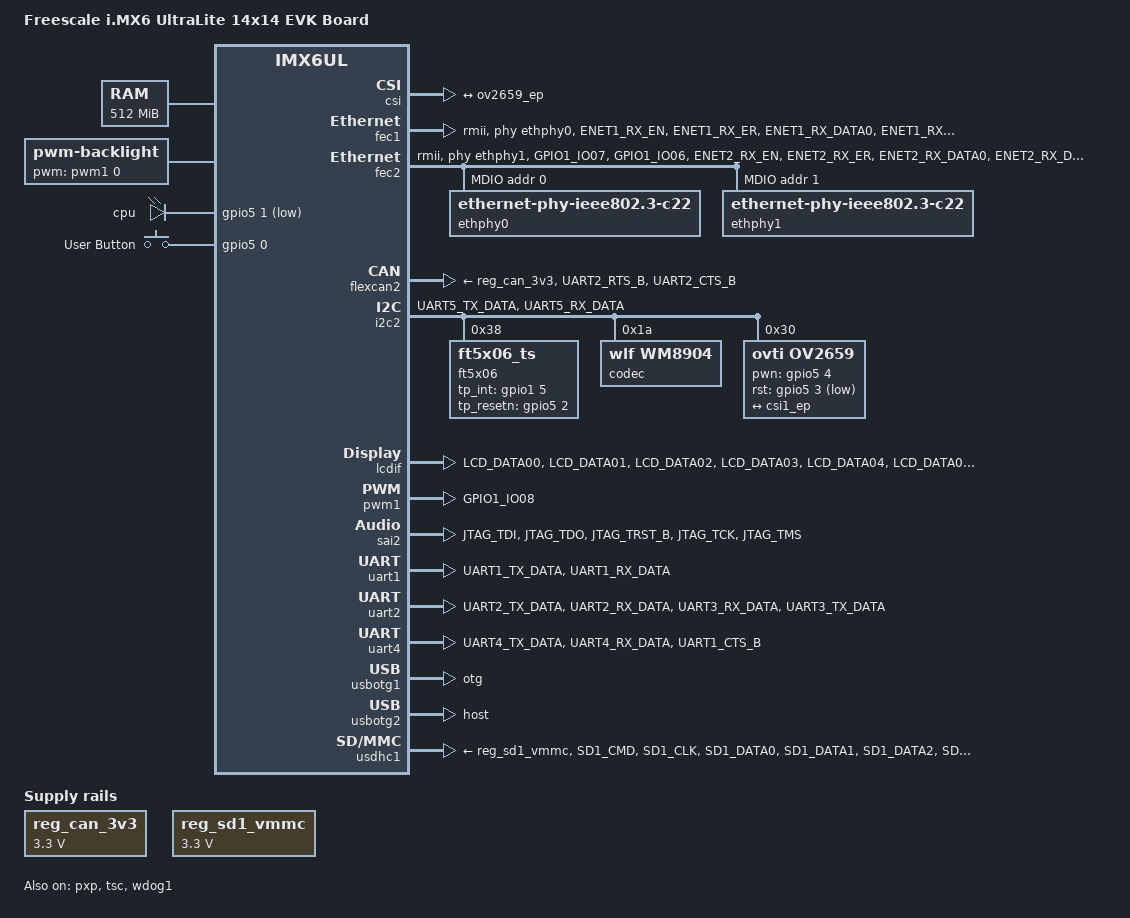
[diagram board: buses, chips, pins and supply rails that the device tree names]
/*
 * Copyright (C) 2015 Freescale Semiconductor, Inc.
 *
 * This program is free software; you can redistribute it and/or modify
 * it under the terms of the GNU General Public License version 2 as
 * published by the Free Software Foundation.
 */

/dts-v1/;

#include <dt-bindings/input/input.h>
#include "imx6ul.dtsi"

/ {
	model = "Freescale i.MX6 UltraLite 14x14 EVK Board";
	compatible = "fsl,imx6ul-14x14-evk", "fsl,imx6ul";

	chosen {
		stdout-path = &uart1;
	};

	memory {
		reg = <0x80000000 0x20000000>;
	};

	reserved-memory {
		#address-cells = <1>;
		#size-cells = <1>;
		ranges;

		linux,cma {
			compatible = "shared-dma-pool";
			reusable;
			size = <0x14000000>;
			linux,cma-default;
		};
	};

	backlight {
		compatible = "pwm-backlight";
		pwms = <&pwm1 0 5000000>;
		brightness-levels = <0 4 8 16 32 64 128 255>;
		default-brightness-level = <6>;
		status = "okay";
	};

	pxp_v4l2 {
		compatible = "fsl,imx6ul-pxp-v4l2", "fsl,imx6sx-pxp-v4l2", "fsl,imx6sl-pxp-v4l2";
		status = "okay";
	};

	regulators {
		compatible = "simple-bus";
		#address-cells = <1>;
		#size-cells = <0>;

		reg_can_3v3: regulator@0 {
			compatible = "regulator-fixed";
			reg = <0>;
			regulator-name = "can-3v3";
			regulator-min-microvolt = <3300000>;
			regulator-max-microvolt = <3300000>;
		};

		reg_sd1_vmmc: regulator@1 {
			compatible = "regulator-fixed";
			regulator-name = "VSD_3V3";
			regulator-min-microvolt = <3300000>;
			regulator-max-microvolt = <3300000>;
			enable-active-high;
		};
	};

	sound {
		compatible = "fsl,imx6ul-evk-wm8904",
			   "fsl,imx-audio-wm8904";
		model = "wm8904-audio";
		cpu-dai = <&sai2>;
		audio-codec = <&codec>;
		asrc-controller = <&asrc>;
		gpr = <&gpr>;
		audio-routing =
			"Headphone Jack", "HPOUTL",
			"Headphone Jack", "HPOUTR",
			"IN2L", "Line In Jack",
			"IN2R", "Line In Jack",
			"Mic Jack", "MICBIAS",
			"IN1L", "Mic Jack";
	};

	leds {
		compatible = "gpio-leds";
		pinctrl-names = "default";
		pinctrl-0 = <&pinctrl_leds>;

		led0: cpu {
			label = "cpu";
			gpios = <&gpio5 1 GPIO_ACTIVE_LOW>;
			default-state = "on";
			linux,default-trigger = "heartbeat";
		};
	};

	gpio-keys {
		compatible = "gpio-keys";
		pinctrl-names = "default";
		pinctrl-0 = <&pinctrl_gpio_key>;

		user {
			label = "User Button";
			gpios = <&gpio5 0 GPIO_ACTIVE_HIGH>;
			gpio-key,wakeup;
			linux,code = <KEY_1>;
		};
	};


};

&cpu0 {
	arm-supply = <&reg_arm>;
	soc-supply = <&reg_soc>;
};

&clks {
	assigned-clocks = <&clks IMX6UL_CLK_PLL4_AUDIO_DIV>;
	assigned-clock-rates = <786432000>;
};

&csi {
	status = "disabled";

	port {
		csi1_ep: endpoint {
			remote-endpoint = <&ov2659_ep>;
		};
	};
};

&fec1 {
	pinctrl-names = "default";
	pinctrl-0 = <&pinctrl_enet1>;
	phy-mode = "rmii";
	phy-handle = <&ethphy0>;
	phy-reset-gpios = <&gpio5 9 GPIO_ACTIVE_LOW>;
	phy-reset-duration = <26>;
	status = "okay";
};

&fec2 {
	pinctrl-names = "default";
	pinctrl-0 = <&pinctrl_enet2>;
	phy-mode = "rmii";
	phy-handle = <&ethphy1>;
	phy-reset-gpios = <&gpio5 6 GPIO_ACTIVE_LOW>;
	phy-reset-duration = <26>;
	status = "okay";

	mdio {
		#address-cells = <1>;
		#size-cells = <0>;

		ethphy0: ethernet-phy@0 {
			compatible = "ethernet-phy-ieee802.3-c22";
			smsc,disable-energy-detect;
			reg = <0>;
		};

		ethphy1: ethernet-phy@1 {
			compatible = "ethernet-phy-ieee802.3-c22";
			smsc,disable-energy-detect;
			reg = <1>;
		};
	};
};

&flexcan1 {
	pinctrl-names = "default";
	pinctrl-0 = <&pinctrl_flexcan1>;
	xceiver-supply = <&reg_can_3v3>;
	status = "disabled";
};

&flexcan2 {
	pinctrl-names = "default";
	pinctrl-0 = <&pinctrl_flexcan2>;
	xceiver-supply = <&reg_can_3v3>;
	status = "okay";
};

&gpc {
	fsl,cpu_pupscr_sw2iso = <0x1>;
	fsl,cpu_pupscr_sw = <0x0>;
	fsl,cpu_pdnscr_iso2sw = <0x1>;
	fsl,cpu_pdnscr_iso = <0x1>;
	fsl,ldo-bypass = <0>; /* DCDC, ldo-enable */
};

&i2c1 {
	clock-frequency = <100000>;
	pinctrl-names = "default";
	pinctrl-0 = <&pinctrl_i2c1>;
	status = "disabled";
};

&i2c2 {
	clock_frequency = <100000>;
	pinctrl-names = "default";
	pinctrl-0 = <&pinctrl_i2c2>;
	status = "okay";

	ft5x06: ft5x06@38 {
		compatible = "ft5x06_ts";
		reg = <0x38>;
		pinctrl-names = "default";
		pinctrl-0 = <&edt_ft5x06_pins>;
		tp_int = <&gpio1 5 0>;
		tp_resetn = <&gpio5 2 0>;
		polling_mode = /bits/ 8 <1>;
		multi_touch = /bits/ 8 <0>;
	};

	codec: wm8904@1a {
		compatible = "wlf,wm8904";
		reg = <0x1a>;
		clocks = <&clks IMX6UL_CLK_SAI2>;
		clock-names = "mclk";
	};

	ov5640: ov5640@3c {
		compatible = "ovti,ov5640";
		reg = <0x3c>;
		pinctrl-names = "default";
		pinctrl-0 = <&pinctrl_csi1>;
		clocks = <&clks IMX6UL_CLK_CSI>;
		clock-names = "csi_mclk";
		pwn-gpios = <&gpio5 4 GPIO_ACTIVE_HIGH>;
		rst-gpios = <&gpio5 3 GPIO_ACTIVE_LOW>;
		csi_id = <0>;
		mclk = <24000000>;
		mclk_source = <0>;
		status = "disabled";
		port {
			ov5640_ep: endpoint {
				remote-endpoint = <&csi1_ep>;
			};
		};
	};

	ov2659: ov2659@30 {
		compatible = "ovti,ov2659";
		reg = <0x30>;
		pinctrl-names = "default";
		pinctrl-0 = <&pinctrl_csi1>;
		clocks = <&clks IMX6UL_CLK_CSI>;
		clock-names = "xvclk";
		pwn-gpios = <&gpio5 4 GPIO_ACTIVE_HIGH>;
		rst-gpios = <&gpio5 3 GPIO_ACTIVE_LOW>;
		status = "okay";
		port {
			ov2659_ep: endpoint {
				remote-endpoint = <&csi1_ep>;
				link-frequencies = /bits/ 64 <70000000>;
			};
		};
	};
};

&iomuxc {
	pinctrl-names = "default";
	pinctrl-0 = <&pinctrl_hog_1>;
	imx6ul-evk {
		pinctrl_hog_1: hoggrp-1 {
			fsl,pins = <
				MX6UL_PAD_UART1_RTS_B__GPIO1_IO19	0x17059 /* SD1 CD */
				MX6UL_PAD_SNVS_TAMPER9__GPIO5_IO09	0x1b0b0 /* enet1 reset */
				MX6UL_PAD_SNVS_TAMPER6__GPIO5_IO06	0x1b0b0 /* enet2 reset */
				MX6UL_PAD_SNVS_TAMPER5__GPIO5_IO05	0x1b0b0 /* LTE module power */
				MX6UL_PAD_SNVS_TAMPER7__GPIO5_IO07	0x1b0b0 /* LTE module WakeOut */
				MX6UL_PAD_SNVS_TAMPER8__GPIO5_IO08	0x1b0b0 /* LTE module WakeIn */
				MX6UL_PAD_NAND_CE1_B__GPIO4_IO14	0x1b0b0 /* LTE module Reset */
				MX6UL_PAD_SNVS_TAMPER3__GPIO5_IO03	0x1b0b0 /* Camera RST */
				MX6UL_PAD_SNVS_TAMPER4__GPIO5_IO04	0x1b0b0 /* Camera PWRDN */
				MX6UL_PAD_SNVS_TAMPER2__GPIO5_IO02	0x1b0b0 /* TP Reset */
				MX6UL_PAD_GPIO1_IO09__GPIO1_IO09	0x1b0b0 /* LCD_DISP */
				MX6UL_PAD_GPIO1_IO00__ANATOP_OTG1_ID    0x17059 /* USB OTG1 ID */
			>;
		};

		pinctrl_csi1: csi1grp {
			fsl,pins = <
				MX6UL_PAD_CSI_MCLK__CSI_MCLK		0x1b088
				MX6UL_PAD_CSI_PIXCLK__CSI_PIXCLK	0x1b088
				MX6UL_PAD_CSI_VSYNC__CSI_VSYNC		0x1b088
				MX6UL_PAD_CSI_HSYNC__CSI_HSYNC		0x1b088
				MX6UL_PAD_CSI_DATA00__CSI_DATA02	0x1b088
				MX6UL_PAD_CSI_DATA01__CSI_DATA03	0x1b088
				MX6UL_PAD_CSI_DATA02__CSI_DATA04	0x1b088
				MX6UL_PAD_CSI_DATA03__CSI_DATA05	0x1b088
				MX6UL_PAD_CSI_DATA04__CSI_DATA06	0x1b088
				MX6UL_PAD_CSI_DATA05__CSI_DATA07	0x1b088
				MX6UL_PAD_CSI_DATA06__CSI_DATA08	0x1b088
				MX6UL_PAD_CSI_DATA07__CSI_DATA09	0x1b088
			>;
		};

		pinctrl_dvfs: dvfsgrp {
			fsl,pins = <
				MX6UL_PAD_SNVS_TAMPER3__GPIO5_IO03	0x79
			>;
		};

		pinctrl_enet1: enet1grp {
			fsl,pins = <
				MX6UL_PAD_ENET1_RX_EN__ENET1_RX_EN	0x1b0b0
				MX6UL_PAD_ENET1_RX_ER__ENET1_RX_ER	0x1b0b0
				MX6UL_PAD_ENET1_RX_DATA0__ENET1_RDATA00	0x1b0b0
				MX6UL_PAD_ENET1_RX_DATA1__ENET1_RDATA01	0x1b0b0
				MX6UL_PAD_ENET1_TX_EN__ENET1_TX_EN	0x1b0b0
				MX6UL_PAD_ENET1_TX_DATA0__ENET1_TDATA00	0x1b0b0
				MX6UL_PAD_ENET1_TX_DATA1__ENET1_TDATA01	0x1b0b0
				MX6UL_PAD_ENET1_TX_CLK__ENET1_REF_CLK1	0x4001b031
			>;
		};

		pinctrl_enet2: enet2grp {
			fsl,pins = <
				MX6UL_PAD_GPIO1_IO07__ENET2_MDC		0x1b0b0
				MX6UL_PAD_GPIO1_IO06__ENET2_MDIO	0x1b0b0
				MX6UL_PAD_ENET2_RX_EN__ENET2_RX_EN	0x1b0b0
				MX6UL_PAD_ENET2_RX_ER__ENET2_RX_ER	0x1b0b0
				MX6UL_PAD_ENET2_RX_DATA0__ENET2_RDATA00	0x1b0b0
				MX6UL_PAD_ENET2_RX_DATA1__ENET2_RDATA01	0x1b0b0
				MX6UL_PAD_ENET2_TX_EN__ENET2_TX_EN	0x1b0b0
				MX6UL_PAD_ENET2_TX_DATA0__ENET2_TDATA00	0x1b0b0
				MX6UL_PAD_ENET2_TX_DATA1__ENET2_TDATA01	0x1b0b0
				MX6UL_PAD_ENET2_TX_CLK__ENET2_REF_CLK2	0x4001b031
			>;
		};

		pinctrl_flexcan1: flexcan1grp{
			fsl,pins = <
				MX6UL_PAD_UART3_RTS_B__FLEXCAN1_RX	0x1b020
				MX6UL_PAD_UART3_CTS_B__FLEXCAN1_TX	0x1b020
			>;
		};

		pinctrl_flexcan2: flexcan2grp{
			fsl,pins = <
				MX6UL_PAD_UART2_RTS_B__FLEXCAN2_RX	0x1b020
				MX6UL_PAD_UART2_CTS_B__FLEXCAN2_TX	0x1b020
			>;
		};

		pinctrl_i2c1: i2c1grp {
			fsl,pins = <
				MX6UL_PAD_UART4_TX_DATA__I2C1_SCL 0x4001b8b0
				MX6UL_PAD_UART4_RX_DATA__I2C1_SDA 0x4001b8b0
			>;
		};

		pinctrl_i2c2: i2c2grp {
			fsl,pins = <
				MX6UL_PAD_UART5_TX_DATA__I2C2_SCL 0x4001b8b0
				MX6UL_PAD_UART5_RX_DATA__I2C2_SDA 0x4001b8b0
			>;
		};

		pinctrl_lcdif_dat: lcdifdatgrp {
			fsl,pins = <
				MX6UL_PAD_LCD_DATA00__LCDIF_DATA00  0x79
				MX6UL_PAD_LCD_DATA01__LCDIF_DATA01  0x79
				MX6UL_PAD_LCD_DATA02__LCDIF_DATA02  0x79
				MX6UL_PAD_LCD_DATA03__LCDIF_DATA03  0x79
				MX6UL_PAD_LCD_DATA04__LCDIF_DATA04  0x79
				MX6UL_PAD_LCD_DATA05__LCDIF_DATA05  0x79
				MX6UL_PAD_LCD_DATA06__LCDIF_DATA06  0x79
				MX6UL_PAD_LCD_DATA07__LCDIF_DATA07  0x79
				MX6UL_PAD_LCD_DATA08__LCDIF_DATA08  0x79
				MX6UL_PAD_LCD_DATA09__LCDIF_DATA09  0x79
				MX6UL_PAD_LCD_DATA10__LCDIF_DATA10  0x79
				MX6UL_PAD_LCD_DATA11__LCDIF_DATA11  0x79
				MX6UL_PAD_LCD_DATA12__LCDIF_DATA12  0x79
				MX6UL_PAD_LCD_DATA13__LCDIF_DATA13  0x79
				MX6UL_PAD_LCD_DATA14__LCDIF_DATA14  0x79
				MX6UL_PAD_LCD_DATA15__LCDIF_DATA15  0x79
				MX6UL_PAD_LCD_DATA16__LCDIF_DATA16  0x79
				MX6UL_PAD_LCD_DATA17__LCDIF_DATA17  0x79
				MX6UL_PAD_LCD_DATA18__LCDIF_DATA18  0x79
				MX6UL_PAD_LCD_DATA19__LCDIF_DATA19  0x79
				MX6UL_PAD_LCD_DATA20__LCDIF_DATA20  0x79
				MX6UL_PAD_LCD_DATA21__LCDIF_DATA21  0x79
				MX6UL_PAD_LCD_DATA22__LCDIF_DATA22  0x79
				MX6UL_PAD_LCD_DATA23__LCDIF_DATA23  0x79
			>;
		};

		pinctrl_lcdif_dat_16bits: lcdifdatbitgrp16bits {
			fsl,pins = <
				MX6UL_PAD_LCD_DATA00__LCDIF_DATA00  0x79
				MX6UL_PAD_LCD_DATA01__LCDIF_DATA01  0x79
				MX6UL_PAD_LCD_DATA02__LCDIF_DATA02  0x79
				MX6UL_PAD_LCD_DATA03__LCDIF_DATA03  0x79
				MX6UL_PAD_LCD_DATA04__LCDIF_DATA04  0x79
				MX6UL_PAD_LCD_DATA05__LCDIF_DATA05  0x79
				MX6UL_PAD_LCD_DATA06__LCDIF_DATA06  0x79
				MX6UL_PAD_LCD_DATA07__LCDIF_DATA07  0x79
				MX6UL_PAD_LCD_DATA08__LCDIF_DATA08  0x79
				MX6UL_PAD_LCD_DATA09__LCDIF_DATA09  0x79
				MX6UL_PAD_LCD_DATA10__LCDIF_DATA10  0x79
				MX6UL_PAD_LCD_DATA11__LCDIF_DATA11  0x79
				MX6UL_PAD_LCD_DATA12__LCDIF_DATA12  0x79
				MX6UL_PAD_LCD_DATA13__LCDIF_DATA13  0x79
				MX6UL_PAD_LCD_DATA14__LCDIF_DATA14  0x79
				MX6UL_PAD_LCD_DATA15__LCDIF_DATA15  0x79
			>;
		};

		pinctrl_lcdif_ctrl: lcdifctrlgrp {
			fsl,pins = <
				MX6UL_PAD_LCD_CLK__LCDIF_CLK	    0x79
				MX6UL_PAD_LCD_ENABLE__LCDIF_ENABLE  0x79
				MX6UL_PAD_LCD_HSYNC__LCDIF_HSYNC    0x79
				MX6UL_PAD_LCD_VSYNC__LCDIF_VSYNC    0x79
			>;
		};

		pinctrl_pwm1: pwm1grp {
			fsl,pins = <
				MX6UL_PAD_GPIO1_IO08__PWM1_OUT   0x110b0
			>;
		};

		pinctrl_qspi: qspigrp {
			fsl,pins = <
				MX6UL_PAD_NAND_WP_B__QSPI_A_SCLK      0x70a1
				MX6UL_PAD_NAND_READY_B__QSPI_A_DATA00 0x70a1
				MX6UL_PAD_NAND_CE0_B__QSPI_A_DATA01   0x70a1
				MX6UL_PAD_NAND_CE1_B__QSPI_A_DATA02   0x70a1
				MX6UL_PAD_NAND_CLE__QSPI_A_DATA03     0x70a1
				MX6UL_PAD_NAND_DQS__QSPI_A_SS0_B      0x70a1
			>;
		};

		pinctrl_sai2: sai2grp {
			fsl,pins = <
				MX6UL_PAD_JTAG_TDI__SAI2_TX_BCLK	0x17088
				MX6UL_PAD_JTAG_TDO__SAI2_TX_SYNC	0x17088
				MX6UL_PAD_JTAG_TRST_B__SAI2_TX_DATA	0x11088
				MX6UL_PAD_JTAG_TCK__SAI2_RX_DATA	0x11088
				MX6UL_PAD_JTAG_TMS__SAI2_MCLK		0x17088
			>;
		};

		pinctrl_sim2_1: sim2grp-1 {
			fsl,pins = <
				MX6UL_PAD_CSI_DATA03__SIM2_PORT1_PD		0xb808
				MX6UL_PAD_CSI_DATA04__SIM2_PORT1_CLK		0x11
				MX6UL_PAD_CSI_DATA05__SIM2_PORT1_RST_B		0xb810
				MX6UL_PAD_CSI_DATA06__SIM2_PORT1_SVEN		0xb810
				MX6UL_PAD_CSI_DATA07__SIM2_PORT1_TRXD		0xb811
				MX6UL_PAD_CSI_DATA02__GPIO4_IO23		0x3008
			>;
		};

		pinctrl_spi4: spi4grp {
			fsl,pins = <
				MX6UL_PAD_BOOT_MODE0__GPIO5_IO10	0x70a1
				MX6UL_PAD_BOOT_MODE1__GPIO5_IO11	0x70a1
				MX6UL_PAD_SNVS_TAMPER7__GPIO5_IO07	0x70a1
				MX6UL_PAD_SNVS_TAMPER8__GPIO5_IO08	0x80000000
			>;
		};

		pinctrl_tsc: tscgrp {
			fsl,pins = <
				MX6UL_PAD_GPIO1_IO01__GPIO1_IO01	0xb0
				MX6UL_PAD_GPIO1_IO02__GPIO1_IO02	0xb0
				MX6UL_PAD_GPIO1_IO03__GPIO1_IO03	0xb0
				MX6UL_PAD_GPIO1_IO04__GPIO1_IO04	0xb0
			>;
		};

		pinctrl_uart1: uart1grp {
			fsl,pins = <
				MX6UL_PAD_UART1_TX_DATA__UART1_DCE_TX 0x1b0b1
				MX6UL_PAD_UART1_RX_DATA__UART1_DCE_RX 0x1b0b1
			>;
		};

		pinctrl_uart2: uart2grp {
			fsl,pins = <
				MX6UL_PAD_UART2_TX_DATA__UART2_DCE_TX	0x1b0b1
				MX6UL_PAD_UART2_RX_DATA__UART2_DCE_RX	0x1b0b1
				MX6UL_PAD_UART3_RX_DATA__UART2_DCE_RTS	0x1b0b1
				MX6UL_PAD_UART3_TX_DATA__UART2_DCE_CTS	0x1b0b1
			>;
		};

		pinctrl_uart2dte: uart2dtegrp {
			fsl,pins = <
				MX6UL_PAD_UART2_TX_DATA__UART2_DTE_RX	0x1b0b1
				MX6UL_PAD_UART2_RX_DATA__UART2_DTE_TX	0x1b0b1
				MX6UL_PAD_UART3_RX_DATA__UART2_DTE_CTS	0x1b0b1
				MX6UL_PAD_UART3_TX_DATA__UART2_DTE_RTS	0x1b0b1
			>;
		};

		pinctrl_uart4: uart4grp {
			fsl,pins = <
				MX6UL_PAD_UART4_TX_DATA__UART4_DCE_TX   0x1b0b1
				MX6UL_PAD_UART4_RX_DATA__UART4_DCE_RX   0x1b0b1
				MX6UL_PAD_UART1_CTS_B__GPIO1_IO18       0x1b0b1 /* RS485 RE/DE */
			>;
		};

		pinctrl_usdhc1: usdhc1grp {
			fsl,pins = <
				MX6UL_PAD_SD1_CMD__USDHC1_CMD     0x17059
				MX6UL_PAD_SD1_CLK__USDHC1_CLK     0x10071
				MX6UL_PAD_SD1_DATA0__USDHC1_DATA0 0x17059
				MX6UL_PAD_SD1_DATA1__USDHC1_DATA1 0x17059
				MX6UL_PAD_SD1_DATA2__USDHC1_DATA2 0x17059
				MX6UL_PAD_SD1_DATA3__USDHC1_DATA3 0x17059
			>;
		};

		pinctrl_usdhc1_100mhz: usdhc1grp100mhz {
			fsl,pins = <
				MX6UL_PAD_SD1_CMD__USDHC1_CMD     0x170b9
				MX6UL_PAD_SD1_CLK__USDHC1_CLK     0x100b9
				MX6UL_PAD_SD1_DATA0__USDHC1_DATA0 0x170b9
				MX6UL_PAD_SD1_DATA1__USDHC1_DATA1 0x170b9
				MX6UL_PAD_SD1_DATA2__USDHC1_DATA2 0x170b9
				MX6UL_PAD_SD1_DATA3__USDHC1_DATA3 0x170b9
			>;
		};

		pinctrl_usdhc1_200mhz: usdhc1grp200mhz {
			fsl,pins = <
				MX6UL_PAD_SD1_CMD__USDHC1_CMD     0x170f9
				MX6UL_PAD_SD1_CLK__USDHC1_CLK     0x100f9
				MX6UL_PAD_SD1_DATA0__USDHC1_DATA0 0x170f9
				MX6UL_PAD_SD1_DATA1__USDHC1_DATA1 0x170f9
				MX6UL_PAD_SD1_DATA2__USDHC1_DATA2 0x170f9
				MX6UL_PAD_SD1_DATA3__USDHC1_DATA3 0x170f9
			>;
		};

		pinctrl_usdhc2: usdhc2grp {
			fsl,pins = <
				MX6UL_PAD_NAND_RE_B__USDHC2_CLK     0x10069
				MX6UL_PAD_NAND_WE_B__USDHC2_CMD     0x17059
				MX6UL_PAD_NAND_DATA00__USDHC2_DATA0 0x17059
				MX6UL_PAD_NAND_DATA01__USDHC2_DATA1 0x17059
				MX6UL_PAD_NAND_DATA02__USDHC2_DATA2 0x17059
				MX6UL_PAD_NAND_DATA03__USDHC2_DATA3 0x17059
			>;
		};

		pinctrl_usdhc2_8bit: usdhc2grp_8bit {
			fsl,pins = <
				MX6UL_PAD_NAND_RE_B__USDHC2_CLK     0x10069
				MX6UL_PAD_NAND_WE_B__USDHC2_CMD     0x17059
				MX6UL_PAD_NAND_DATA00__USDHC2_DATA0 0x17059
				MX6UL_PAD_NAND_DATA01__USDHC2_DATA1 0x17059
				MX6UL_PAD_NAND_DATA02__USDHC2_DATA2 0x17059
				MX6UL_PAD_NAND_DATA03__USDHC2_DATA3 0x17059
				MX6UL_PAD_NAND_DATA04__USDHC2_DATA4 0x17059
				MX6UL_PAD_NAND_DATA05__USDHC2_DATA5 0x17059
				MX6UL_PAD_NAND_DATA06__USDHC2_DATA6 0x17059
				MX6UL_PAD_NAND_DATA07__USDHC2_DATA7 0x17059
			>;
		};

		pinctrl_usdhc2_8bit_100mhz: usdhc2grp_8bit_100mhz {
			fsl,pins = <
				MX6UL_PAD_NAND_RE_B__USDHC2_CLK     0x100b9
				MX6UL_PAD_NAND_WE_B__USDHC2_CMD     0x170b9
				MX6UL_PAD_NAND_DATA00__USDHC2_DATA0 0x170b9
				MX6UL_PAD_NAND_DATA01__USDHC2_DATA1 0x170b9
				MX6UL_PAD_NAND_DATA02__USDHC2_DATA2 0x170b9
				MX6UL_PAD_NAND_DATA03__USDHC2_DATA3 0x170b9
				MX6UL_PAD_NAND_DATA04__USDHC2_DATA4 0x170b9
				MX6UL_PAD_NAND_DATA05__USDHC2_DATA5 0x170b9
				MX6UL_PAD_NAND_DATA06__USDHC2_DATA6 0x170b9
				MX6UL_PAD_NAND_DATA07__USDHC2_DATA7 0x170b9
			>;
		};

		pinctrl_usdhc2_8bit_200mhz: usdhc2grp_8bit_200mhz {
			fsl,pins = <
				MX6UL_PAD_NAND_RE_B__USDHC2_CLK     0x100f9
				MX6UL_PAD_NAND_WE_B__USDHC2_CMD     0x170f9
				MX6UL_PAD_NAND_DATA00__USDHC2_DATA0 0x170f9
				MX6UL_PAD_NAND_DATA01__USDHC2_DATA1 0x170f9
				MX6UL_PAD_NAND_DATA02__USDHC2_DATA2 0x170f9
				MX6UL_PAD_NAND_DATA03__USDHC2_DATA3 0x170f9
				MX6UL_PAD_NAND_DATA04__USDHC2_DATA4 0x170f9
				MX6UL_PAD_NAND_DATA05__USDHC2_DATA5 0x170f9
				MX6UL_PAD_NAND_DATA06__USDHC2_DATA6 0x170f9
				MX6UL_PAD_NAND_DATA07__USDHC2_DATA7 0x170f9
			>;
		};

		pinctrl_leds: ledgrp {
			fsl,pins = <
				MX6UL_PAD_SNVS_TAMPER1__GPIO5_IO01	0x1b0b0
			>;
		};

		pinctrl_gpio_key: keygrp {
			fsl,pins = <
				MX6UL_PAD_SNVS_TAMPER0__GPIO5_IO00	0x1b0b0
			>;
		};

		edt_ft5x06_pins: ft5x06 {
			fsl,pins = <
				MX6UL_PAD_GPIO1_IO05__GPIO1_IO05	0x1b0b0 /* TP INT */
			>;
		};

		pinctrl_lcdif_reset: lcdifresetgrp {
			fsl,pins = <
				MX6UL_PAD_LCD_RESET__GPIO3_IO04		0x1b0b0
			>;
		};
	};
};

&lcdif {
	pinctrl-names = "default";
	pinctrl-0 = <&pinctrl_lcdif_dat_16bits
		     &pinctrl_lcdif_ctrl
		     &pinctrl_lcdif_reset>;
	display = <&display0>;
	status = "okay";

	display0: display {
		bits-per-pixel = <16>;
		bus-width = <16>;

		display-timings {
			native-mode = <&timing0>;
			timing0: timing0 {
			clock-frequency = <9200000>;
			hactive = <480>;
			vactive = <272>;
			hfront-porch = <8>;
			hback-porch = <4>;
			hsync-len = <41>;
			vback-porch = <2>;
			vfront-porch = <4>;
			vsync-len = <10>;

			hsync-active = <0>;
			vsync-active = <0>;
			de-active = <1>;
			pixelclk-active = <0>;
			};
/*
			timing0: timing0 {
			clock-frequency = <33000000>;
			hactive = <800>;
			vactive = <480>;
			hfront-porch = <210>;
			hback-porch = <46>;
			hsync-len = <1>;
			vback-porch = <22>;
			vfront-porch = <23>;
			vsync-len = <20>;

			hsync-active = <0>;
			vsync-active = <0>;
			de-active = <1>;
			pixelclk-active = <0>;
			};
*/
		};
	};
};

&pwm1 {
	pinctrl-names = "default";
	pinctrl-0 = <&pinctrl_pwm1>;
	status = "okay";
};

&pxp {
	status = "okay";
};

&qspi {
	pinctrl-names = "default";
	pinctrl-0 = <&pinctrl_qspi>;
	status = "disabled";
	ddrsmp=<0>;

	flash0: n25q256a@0 {
		#address-cells = <1>;
		#size-cells = <1>;
		compatible = "micron,n25q256a";
		spi-max-frequency = <29000000>;
		spi-nor,ddr-quad-read-dummy = <6>;
		reg = <0>;
	};
};

&sai2 {
	pinctrl-names = "default";
	pinctrl-0 = <&pinctrl_sai2>;

	assigned-clocks = <&clks IMX6UL_CLK_SAI2_SEL>,
			  <&clks IMX6UL_CLK_SAI2>;
	assigned-clock-parents = <&clks IMX6UL_CLK_PLL4_AUDIO_DIV>;
	assigned-clock-rates = <0>, <12288000>;

	status = "okay";
};

&sim2 {
	pinctrl-names = "default";
	pinctrl-0 = <&pinctrl_sim2_1>;
	assigned-clocks = <&clks IMX6UL_CLK_SIM_SEL>;
	assigned-clock-parents = <&clks IMX6UL_CLK_SIM_PODF>;
	assigned-clock-rates = <240000000>;
	/* GPIO_ACTIVE_HIGH/LOW:sim card voltage control
	 * NCN8025:Vcc = ACTIVE_HIGH?5V:3V
	 * TDA8035:Vcc = ACTIVE_HIGH?5V:1.8V
	 */
	pinctrl-assert-gpios = <&gpio4 23 GPIO_ACTIVE_HIGH>;
	port = <1>;
	sven_low_active;
	status = "disabled";
};

&tsc {
	pinctrl-names = "default";
	pinctrl-0 = <&pinctrl_tsc>;
	xnur-gpio = <&gpio1 3 GPIO_ACTIVE_LOW>;
	measure-delay-time = <0xfffff>;
	pre-charge-time = <0xffff>;
	status = "okay";
};

&uart1 {
	pinctrl-names = "default";
	pinctrl-0 = <&pinctrl_uart1>;
	status = "okay";
};

&uart2 {
	pinctrl-names = "default";
	pinctrl-0 = <&pinctrl_uart2>;
	/* for DTE mode, add below change */
	/* fsl,dte-mode; */
	/* pinctrl-0 = <&pinctrl_uart2dte>; */
	status = "okay";
};

&uart4 {
	pinctrl-names = "default";
	pinctrl-0 = <&pinctrl_uart4>;
	fsl,rs485-gpio-txen = <&gpio1 18 GPIO_ACTIVE_HIGH>;
	linux,rs485-enabled-at-boot-time;
	status = "okay";
};

&usbotg1 {
	dr_mode = "otg";
	srp-disable;
	hnp-disable;
	adp-disable;
	status = "okay";
};

&usbotg2 {
	dr_mode = "host";
	disable-over-current;
	status = "okay";
};

&usbphy1 {
	tx-d-cal = <0x5>;
};

&usbphy2 {
	tx-d-cal = <0x5>;
};

&usdhc1 {
	pinctrl-names = "default";
	pinctrl-0 = <&pinctrl_usdhc1>;
	cd-gpios = <&gpio1 19 GPIO_ACTIVE_LOW>;
	keep-power-in-suspend;
	enable-sdio-wakeup;
	vmmc-supply = <&reg_sd1_vmmc>;
};

&usdhc2 {
	pinctrl-names = "default";
	pinctrl-0 = <&pinctrl_usdhc2>;
	non-removable;
	status = "disabled";
};

&csi {
	status = "okay";

	port {
		csi1_ep: endpoint {
			remote-endpoint = <&ov2659_ep>;
		};
	};
};

&wdog1 {
	status = "okay";
};
